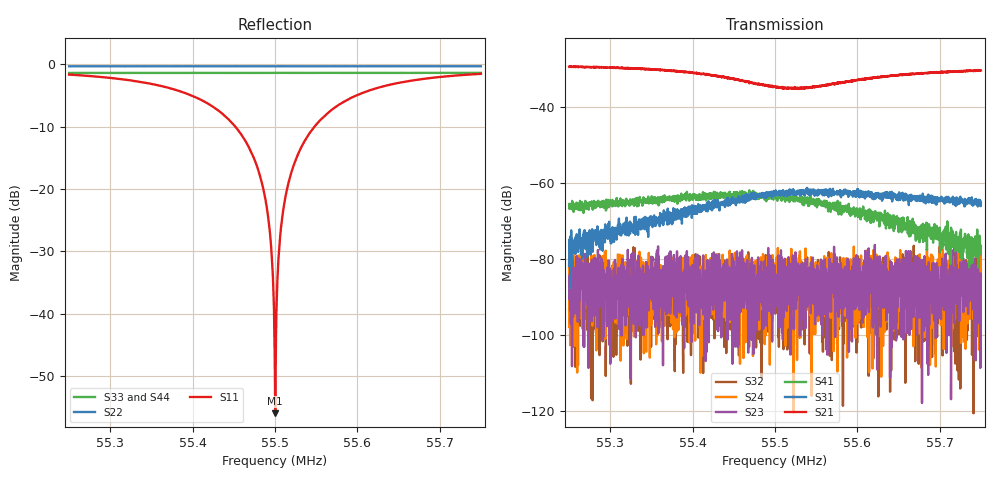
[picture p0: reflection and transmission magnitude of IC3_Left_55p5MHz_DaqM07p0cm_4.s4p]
#  HZ  S  DB  R  50.00
! Rohde & Schwarz Vector Network Analyzer
! Rohde-Schwarz,ZNB8-4Port,1311601044102961,2.82
! Created: UTC 2/13/2019, 9:32:17 AM
! freq[Hz]  db:S11  ang:S11  db:S12  ang:S12  db:S13  ang:S13  db:S14  ang:S14
!  db:S21  ang:S21  db:S22  ang:S22  db:S23  ang:S23  db:S24  ang:S24
!  db:S31  ang:S31  db:S32  ang:S32  db:S33  ang:S33  db:S34  ang:S34
!  db:S41  ang:S41  db:S42  ang:S42  db:S43  ang:S43  db:S44  ang:S44
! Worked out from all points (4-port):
!   2001 points, 55.25 MHz to 55.75 MHz, reference 50 ohm
!   strongest paths, dB at 55.25 MHz, 55.375 MHz, 55.5 MHz, 55.625 MHz, 55.75 MHz:
!     S21: -29.3, -30.4, -34.7, -32.2, -30.4
!     S31: -81.8, -70.8, -63.0, -62.6, -65.3
!     S41: -65.5, -63.8, -63.0, -68.4, -76.6
!     S23: -85.7, -85.2, -87.0, -81.5, -84.4
!     S24: -81.2, -86.9, -81.2, -87.7, -83.9
!     S32: -93.3, -88.4, -85.3, -96.6, -85.0
!   lowest |S11| = -55.9 dB at 55.5003 MHz (marker M1), VSWR 1.00, Z = 50.1 + j0.141 ohm
!   |S11| at or under -10 dB: 55.4518 MHz to 55.54803 MHz (96.23 kHz wide, 0.173 % of centre)
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5.525e7  -1.66 -135.3  -29.34 69.5  -75.59 1.7  -66.38 -149.8
         -29.34 69.8  -0.32 94.2  -85.67 -159.4  -81.16 83.1
         -81.81 -11.7  -93.30 -151.9  -1.39 34.9  -81.40 -90.5
         -65.49 -153.1  -85.09 -140.6  -95.73 -94.9  -1.38 28.5
5.545275e7  -10.15 171.0  -32.59 52.7  -64.08 -33.7  -62.01 164.1
            -32.76 53.1  -0.32 90.5  -85.23 60.8  -86.57 42.1
            -64.23 -28.0  -82.58 -111.8  -1.39 32.5  -93.06 -7.8
            -63.85 160.5  -107.63 163.6  -84.49 -163.8  -1.38 26.0
5.54875e7  -21.06 154.0  -34.21 57.3  -63.21 -49.7  -63.74 150.3
           -34.25 56.4  -0.32 89.9  -80.52 123.5  -102.36 -83.6
           -62.75 -48.4  -86.90 -152.7  -1.38 32.1  -84.63 -179.8
           -64.37 145.6  -84.30 64.4  -89.05 -40.7  -1.37 25.6
5.550025e7  -55.95 62.0  -34.60 60.8  -62.81 -58.3  -63.70 138.0
            -34.55 61.2  -0.32 89.6  -91.08 54.6  -89.38 -83.3
            -63.15 -51.2  -81.10 138.5  -1.38 31.9  -84.11 -85.8
            -63.37 133.5  -85.65 69.5  -87.03 -57.4  -1.38 25.4
5.55135e7  -20.70 -35.7  -35.05 65.0  -62.53 -57.4  -63.82 132.1
           -34.96 65.4  -0.32 89.4  -84.27 10.6  -89.23 75.6
           -62.55 -57.7  -85.04 -126.5  -1.38 31.8  -82.71 1.3
           -64.24 137.8  -80.21 119.4  -85.70 -93.6  -1.38 25.2
5.554875e7  -9.87 -53.2  -34.50 77.6  -61.89 -74.1  -65.06 116.3
            -34.61 77.2  -0.32 88.7  -97.09 166.9  -99.74 127.8
            -62.47 -69.9  -94.65 125.7  -1.38 31.3  -86.83 -60.7
            -65.89 126.2  -82.26 -62.2  -89.45 13.8  -1.37 24.8
5.575e7  -1.53 -108.5  -30.28 76.5  -64.63 -121.1  -78.41 84.0
         -30.35 77.1  -0.32 85.1  -84.40 40.1  -83.89 167.8
         -65.31 -123.3  -84.98 -168.0  -1.37 28.9  -99.76 121.9
         -76.59 100.0  -78.67 144.8  -82.61 -118.6  -1.37 22.3
